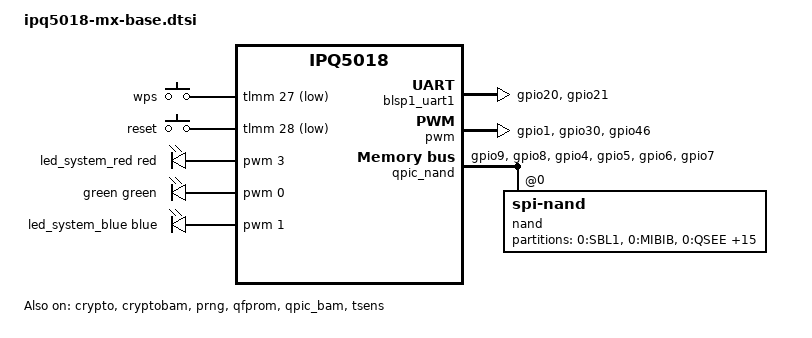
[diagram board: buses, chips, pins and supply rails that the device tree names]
#include "ipq5018.dtsi"
#include "ipq5018-ess.dtsi"

#include <dt-bindings/gpio/gpio.h>
#include <dt-bindings/input/input.h>
#include <dt-bindings/leds/common.h>

/ {

	aliases {
		ethernet0 = &dp1;
		ethernet1 = &dp2;
		led-boot = &led_system_blue;
		led-failsafe = &led_system_red;
		led-running = &led_system_blue;
		led-upgrade = &led_system_red;
		serial0 = &blsp1_uart1;
	};

	chosen {
		bootargs-append = " root=/dev/ubiblock0_0 coherent_pool=2M";
		stdout-path = "serial0:115200n8";
	};

	keys {
		compatible = "gpio-keys";
		pinctrl-0 = <&button_pins>;
		pinctrl-names = "default";

		wps-button {
			label = "wps";
			gpios = <&tlmm 27 GPIO_ACTIVE_LOW>;
			linux,code = <KEY_WPS_BUTTON>;
		};

		reset-button {
			label = "reset";
			gpios = <&tlmm 28 GPIO_ACTIVE_LOW>;
			linux,code = <KEY_RESTART>;
		};
	};

	leds {
		compatible = "pwm-leds";

		led_system_red: red {
			color = <LED_COLOR_ID_RED>;
			function = LED_FUNCTION_POWER;
			pwms = <&pwm 3 1250000>;
			max-brightness = <255>;
		};

		green {
			color = <LED_COLOR_ID_GREEN>;
			function = LED_FUNCTION_POWER;
			pwms = <&pwm 0 1250000>;
			max-brightness = <255>;
		};

		led_system_blue: blue {
			color = <LED_COLOR_ID_BLUE>;
			function = LED_FUNCTION_POWER;
			pwms = <&pwm 1 1250000>;
			max-brightness = <255>;
		};
	};

	reserved-memory {
		q6_mem_regions: q6_mem_regions@4b000000 {
			no-map;
			reg = <0x0 0x4b000000 0x0 0x3000000>;
		};
	};
};

&sleep_clk {
	clock-frequency = <32000>;
};

&xo_board_clk {
	clock-frequency = <24000000>;
};

&blsp1_uart1 {
	status = "okay";

	pinctrl-0 = <&serial_0_pins>;
	pinctrl-names = "default";
};

&crypto {
	status = "okay";
};

&cryptobam {
	status = "okay";
};

&prng {
	status = "okay";
};

&pwm {
	status = "okay";

	#pwm-cells = <2>;
	pinctrl-0 = <&pwm_pins>;
	pinctrl-names = "default";
};

&qfprom {
	status = "okay";
};

&qpic_bam {
	status = "okay";
};

&qpic_nand {
	pinctrl-0 = <&qpic_pins>;
	pinctrl-names = "default";
	status = "okay";

	partitions {
		status = "disabled";
	};

	nand@0 {
		compatible = "spi-nand";
		reg = <0>;
		#address-cells = <1>;
		#size-cells = <1>;

		nand-ecc-engine = <&qpic_nand>;

		nand-ecc-strength = <8>;
		nand-ecc-step-size = <512>;
		nand-bus-width = <8>;

		partitions {
			compatible = "fixed-partitions";
			#address-cells = <1>;
			#size-cells = <1>;

			partition@0 {
				label = "0:SBL1";
				reg = <0x00000000 0x80000>;
				read-only;
			};

			partition@80000 {
				label = "0:MIBIB";
				reg = <0x00080000 0x80000>;
				read-only;
			};

			partition@100000 {
				label = "0:QSEE";
				reg = <0x00100000 0x100000>;
				read-only;
			};

			partition@200000 {
				label = "0:DEVCFG";
				reg = <0x00200000 0x40000>;
				read-only;
			};

			partition@240000 {
				label = "0:CDT";
				reg = <0x00240000 0x40000>;
				read-only;
			};

			partition@280000 {
				label = "0:APPSBLENV";
				reg = <0x00280000 0x80000>;
			};

			partition@300000 {
				label = "0:APPSBL";
				reg = <0x00300000 0x140000>;
				read-only;
			};

			partition@440000 {
				label = "0:ART";
				reg = <0x00440000 0x100000>;
				read-only;
			};

			partition@540000 {
				label = "0:TRAINING";
				reg = <0x00540000 0x80000>;
				read-only;
			};

			partition@5c0000 {
				label = "u_env";
				reg = <0x005c0000 0x80000>;
			};

			partition@640000 {
				label = "s_env";
				reg = <0x00640000 0x40000>;
			};

			partition@680000 {
				label = "devinfo";
				reg = <0x00680000 0x40000>;
				read-only;
			};

			partition@6c0000 {
				label = "kernel";
				reg = <0x006c0000 0x5200000>;
			};

			partition@ec0000 {
				label = "rootfs";
				reg = <0x0ec0000 0x4a00000>;
			};

			partition@58c0000 {
				label = "alt_kernel";
				reg = <0x058c0000 0x5200000>;
			};

			partition@60c0000 {
				label = "alt_rootfs";
				reg = <0x060c0000 0x4a00000>;
			};

			partition@aac0000 {
				label = "sysdiag";
				reg = <0x0aac0000 0x200000>;
				read-only;
			};

			partition@acc0000 {
				label = "syscfg";
				reg = <0x0acc0000 0x4400000>;
				read-only;
			};
		};
	};
};

&tlmm {
	button_pins: button-state {
		pins = "gpio27", "gpio28";
		function = "gpio";
		drive-strength = <8>;
		bias-pull-up;
	};

	mdio1_pins: mdio-state {
		mdc-pins {
			pins = "gpio36";
			function = "mdc";
			drive-strength = <8>;
			bias-pull-up;
		};

		mdio-pins {
			pins = "gpio37";
			function = "mdio";
			drive-strength = <8>;
			bias-pull-up;
		};
	};

	pwm_pins: pwm-state {
		mux_1 {
			pins = "gpio1";
			function = "pwm1";
			drive-strength = <8>;
		};

		mux_2 {
			pins = "gpio30";
			function = "pwm3";
			drive-strength = <8>;
		};

		mux_3 {
			pins = "gpio46";
			function = "pwm0";
			drive-strength = <8>;
		};
	};

	qpic_pins: qpic-state {
		clock-pins {
			pins = "gpio9";
			function = "qspi_clk";
			drive-strength = <8>;
			bias-disable;
		};

		cs-pins {
			pins = "gpio8";
			function = "qspi_cs";
			drive-strength = <8>;
			bias-disable;
		};

		data-pins {
			pins = "gpio4", "gpio5", "gpio6", "gpio7";
			function = "qspi_data";
			drive-strength = <8>;
			bias-disable;
		};
	};

	serial_0_pins: uart0-state {
		pins = "gpio20", "gpio21";
		function = "blsp0_uart0";
		bias-disable;
	};
};

&tsens {
	status = "okay";
};
